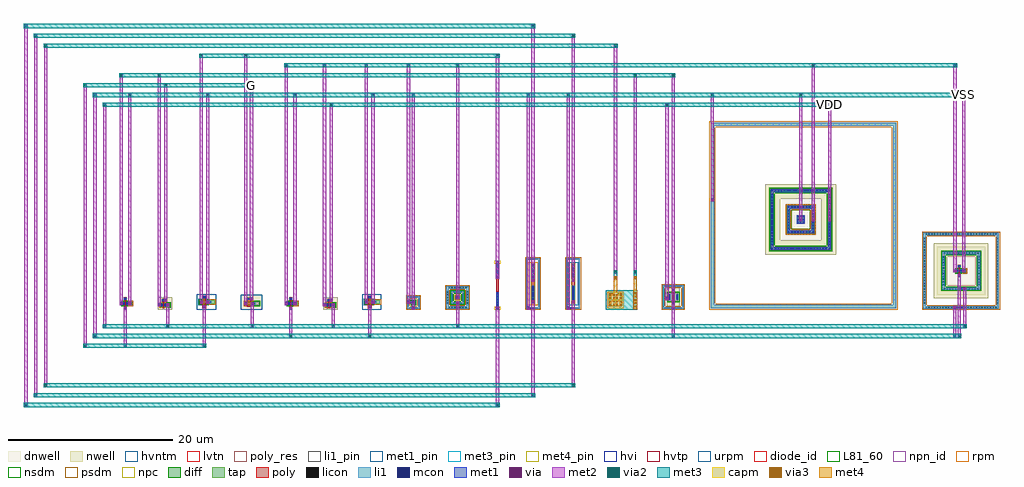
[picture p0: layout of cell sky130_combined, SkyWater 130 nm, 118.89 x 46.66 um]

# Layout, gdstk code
import gdstk
lib = gdstk.Library(unit=1e-6, precision=1e-09)
def R(c, l, rs):  # rectangles x0, y0, x1, y1
    for r in rs: c.add(gdstk.rectangle(r[:2], r[2:], *l))
def A(c, l, x, y, w, h, nx, ny, dx, dy):  # array of equal rectangles
    R(c, l, [(x+i*dx, y+j*dy, x+i*dx+w, y+j*dy+h) for i in range(nx) for j in range(ny)])
def P(c, l, *ps):  # polygons
    for p in ps: c.add(gdstk.Polygon(p, *l))
dnwell = (64, 18)
nwell = (64, 20)
diff = (65, 20)
tap = (65, 44)
poly_res = (66, 13)
poly = (66, 20)
licon = (66, 44)
li1_pin = (67, 16)
li1 = (67, 20)
mcon = (67, 44)
met1_pin = (68, 16)
met1 = (68, 20)
via = (68, 44)
met2 = (69, 20)
via2 = (69, 44)
met3_pin = (70, 16)
met3 = (70, 20)
via3 = (70, 44)
met4_pin = (71, 16)
met4 = (71, 20)
hvi = (75, 20)
hvtp = (78, 44)
urpm = (79, 20)
diode_id = (81, 23)
L81_60 = (81, 60)
npn_id = (82, 20)
rpm = (86, 20)
capm = (89, 44)
nsdm = (93, 44)
psdm = (94, 20)
npc = (95, 20)
hvntm = (125, 20)
lvtn = (125, 44)

sky130_combined = lib.new_cell('sky130_combined')
R(sky130_combined, dnwell, [(99.4,1.815,105.23,7.675), (78.86,7.08,86.68,14.9)])
R(sky130_combined, nwell, [(4.45,0,6.2,1.52), (14.55,0,16.97,1.84), (14.55,0,17.145,1.84), (24.595,0,26.345,1.52), (66.43,0.425,68.06,2.685), (40.02,0.545,41.92,2.445), (66.43,0.565,68.06,2.545), (79.325,7.09,86.215,7.86), (78.87,7.545,79.64,14.435), (85.9,7.545,86.67,14.435), (79.325,14.12,86.215,14.89)])
P(sky130_combined, nwell, [(78.46,6.68),(78.46,8.48),(85.28,8.48),(85.28,13.5),(80.26,13.5),(80.26,8.48),(78.46,8.48),(78.46,15.3),(87.08,15.3),(87.08,6.68)],
  [(99,1.415),(99,6.485),(100.59,6.485),(100.59,3.005),(104.04,3.005),(104.04,6.485),(99,6.485),(99,8.075),(105.63,8.075),(105.63,1.415)])
R(sky130_combined, diff, [(4.755,0.38,5.505,0.8), (24.9,0.38,25.65,0.8), (15.015,0.54,16.115,0.96), (0.125,0.55,0.875,0.97), (20.27,0.55,21.02,0.97), (35.36,0.665,35.81,1.115), (9.57,0.725,10.67,1.145), (29.715,0.725,30.815,1.145), (40.745,1.27,41.195,1.72), (101.715,4.535,102.465,4.955), (82.27,10.49,83.27,11.49), (82.285,10.505,83.255,11.475)])
R(sky130_combined, tap, [(49.33,0.125,50.98,0.295), (54.23,0.125,55.88,0.295), (49.33,0.295,49.5,6.075), (50.81,0.295,50.98,6.075), (54.23,0.295,54.4,6.075), (55.71,0.295,55.88,6.075), (5.505,0.38,5.895,0.8), (25.65,0.38,26.04,0.8), (16.115,0.54,16.505,0.96), (16.115,0.54,16.815,0.96), (0.875,0.55,1.325,0.97), (21.02,0.55,21.47,0.97), (10.67,0.725,11.12,1.145), (10.67,0.725,11.37,1.145), (30.815,0.725,31.265,1.145), (30.815,0.725,31.515,1.145), (66.61,1.055,67.88,2.055), (102.465,4.535,102.915,4.955), (49.33,6.075,50.98,6.245), (54.23,6.075,55.88,6.245)])
P(sky130_combined, tap, [(34.82,0.125),(34.82,1.485),(34.99,1.485),(34.99,0.295),(36.18,0.295),(36.18,1.485),(34.82,1.485),(34.82,1.655),(36.35,1.655),(36.35,0.125)],
  [(40.205,0.73),(40.205,2.09),(40.375,2.09),(40.375,0.9),(41.565,0.9),(41.565,2.09),(40.205,2.09),(40.205,2.26),(41.735,2.26),(41.735,0.73)],
  [(39.6,0.125),(39.6,2.575),(39.89,2.575),(39.89,0.415),(42.05,0.415),(42.05,2.575),(39.6,2.575),(39.6,2.865),(42.34,2.865),(42.34,0.125)],
  [(65.99,0.125),(65.99,2.815),(66.16,2.815),(66.16,0.295),(68.33,0.295),(68.33,2.815),(65.99,2.815),(65.99,2.985),(68.5,2.985),(68.5,0.125)],
  [(81.06,9.28),(81.06,12.29),(81.47,12.29),(81.47,9.69),(84.07,9.69),(84.07,12.29),(81.06,12.29),(81.06,12.7),(84.48,12.7),(84.48,9.28)],
  [(79.05,7.27),(79.05,14.3),(79.46,14.3),(79.46,7.68),(86.08,7.68),(86.08,14.3),(79.05,14.3),(79.05,14.71),(86.49,14.71),(86.49,7.27)],
  [(71.795,0.165),(71.795,22.385),(72.215,22.385),(72.215,0.585),(94.015,0.585),(94.015,22.385),(71.795,22.385),(71.795,22.805),(94.435,22.805),(94.435,0.165)],
  [(100,2.415),(100,6.785),(100.29,6.785),(100.29,2.705),(104.34,2.705),(104.34,6.785),(100,6.785),(100,7.075),(104.63,7.075),(104.63,2.415)],
  [(97.71,0.125),(97.71,9.075),(98,9.075),(98,0.415),(106.63,0.415),(106.63,9.075),(97.71,9.075),(97.71,9.365),(106.92,9.365),(106.92,0.125)])
R(sky130_combined, poly_res, [(45.67,2.17,46,3.82), (49.98,2.875,50.33,3.495), (54.88,2.875,55.23,3.495)])
R(sky130_combined, poly, [(0.365,0.02,0.635,0.35), (20.51,0.02,20.78,0.35), (45.67,0.02,46,5.97), (5.055,0.18,5.205,1), (25.2,0.18,25.35,1), (9.87,0.195,10.37,0.525), (30.015,0.195,30.515,0.525), (15.315,0.34,15.815,1.16), (0.425,0.35,0.575,1.17), (20.57,0.35,20.72,1.17), (9.87,0.525,10.37,1.345), (30.015,0.525,30.515,1.345), (67.11,0.575,67.38,0.905), (49.98,0.775,50.33,5.595), (54.88,0.775,55.23,5.595), (67.155,0.905,67.335,2.205), (4.995,1,5.265,1.33), (25.14,1,25.41,1.33), (15.315,1.16,15.815,1.49), (0.365,1.17,0.635,1.5), (20.51,1.17,20.78,1.5), (9.87,1.345,10.37,1.675), (30.015,1.345,30.515,1.675), (67.11,2.205,67.38,2.535), (101.955,4.005,102.225,4.335), (102.015,4.335,102.165,5.155), (101.955,5.155,102.225,5.485)])
A(sky130_combined, licon, 35.14, 0.125, 0.17, 0.17, 3, 2, 0.36, 1.36)
A(sky130_combined, licon, 66.48, 0.125, 0.17, 0.17, 5, 2, 0.34, 2.69)
A(sky130_combined, licon, 39.865, 0.185, 0.17, 0.17, 7, 2, 0.34, 2.45)
A(sky130_combined, licon, 97.98, 0.185, 0.17, 0.17, 26, 2, 0.34, 8.95)
A(sky130_combined, licon, 65.99, 0.45, 0.17, 0.17, 1, 7, 0, 0.34)
A(sky130_combined, licon, 68.33, 0.45, 0.17, 0.17, 1, 7, 0, 0.34)
A(sky130_combined, licon, 40.525, 0.73, 0.17, 0.17, 3, 2, 0.36, 1.36)
A(sky130_combined, licon, 97.77, 0.75, 0.17, 0.17, 1, 24, 0, 0.34)
A(sky130_combined, licon, 106.69, 0.75, 0.17, 0.17, 1, 24, 0, 0.34)
A(sky130_combined, licon, 49.33, 0.89, 0.17, 0.17, 1, 14, 0, 0.34)
A(sky130_combined, licon, 50.81, 0.89, 0.17, 0.17, 1, 14, 0, 0.34)
A(sky130_combined, licon, 54.23, 0.89, 0.17, 0.17, 1, 14, 0, 0.34)
A(sky130_combined, licon, 55.71, 0.89, 0.17, 0.17, 1, 14, 0, 0.34)
A(sky130_combined, licon, 39.66, 1.41, 0.17, 0.17, 3, 1, 1.225, 0)
A(sky130_combined, licon, 100.19, 2.475, 0.17, 0.17, 13, 2, 0.34, 4.37)
A(sky130_combined, licon, 100.06, 2.96, 0.17, 0.17, 1, 11, 0, 0.34)
A(sky130_combined, licon, 104.4, 2.96, 0.17, 0.17, 1, 11, 0, 0.34)
A(sky130_combined, licon, 79.625, 7.39, 0.17, 0.17, 19, 2, 0.34, 7.03)
A(sky130_combined, licon, 79.17, 7.845, 0.17, 0.17, 1, 19, 0, 0.34)
A(sky130_combined, licon, 86.2, 7.845, 0.17, 0.17, 1, 19, 0, 0.34)
A(sky130_combined, licon, 81.665, 9.4, 0.17, 0.17, 7, 2, 0.34, 3.01)
A(sky130_combined, licon, 81.18, 9.885, 0.17, 0.17, 1, 7, 0, 0.34)
A(sky130_combined, licon, 84.19, 9.885, 0.17, 0.17, 1, 7, 0, 0.34)
A(sky130_combined, licon, 82.345, 10.565, 0.17, 0.17, 3, 3, 0.34, 0.34)
R(sky130_combined, licon, [(0.415,0.1,0.585,0.27), (20.56,0.1,20.73,0.27), (45.75,0.1,45.92,0.27), (49.9,0.125,50.07,0.295), (50.24,0.125,50.41,0.295), (54.8,0.125,54.97,0.295), (55.14,0.125,55.31,0.295), (10.035,0.275,10.205,0.445), (30.18,0.275,30.35,0.445), (4.82,0.505,4.99,0.675), (5.27,0.505,5.44,0.675), (5.615,0.505,5.785,0.675), (24.965,0.505,25.135,0.675), (25.415,0.505,25.585,0.675), (25.76,0.505,25.93,0.675), (34.82,0.625,34.99,0.795), (36.18,0.625,36.35,0.795), (67.16,0.655,67.33,0.825), (15.08,0.665,15.25,0.835), (15.88,0.665,16.05,0.835), (16.225,0.665,16.395,0.835), (0.19,0.675,0.36,0.845), (0.64,0.675,0.81,0.845), (1.015,0.675,1.185,0.845), (20.335,0.675,20.505,0.845), (20.785,0.675,20.955,0.845), (21.16,0.675,21.33,0.845), (39.66,0.73,39.83,0.9), (42.11,0.73,42.28,0.9), (35.5,0.805,35.67,0.975), (9.635,0.85,9.805,1.02), (10.435,0.85,10.605,1.02), (10.81,0.85,10.98,1.02), (29.78,0.85,29.95,1.02), (30.58,0.85,30.75,1.02), (30.955,0.85,31.125,1.02), (50.06,0.855,50.25,2.855), (54.96,0.855,55.15,2.855), (34.82,0.985,34.99,1.155), (36.18,0.985,36.35,1.155), (39.66,1.07,39.83,1.24), (42.11,1.07,42.28,1.24), (5.045,1.08,5.215,1.25), (25.19,1.08,25.36,1.25), (40.205,1.23,40.375,1.4), (41.565,1.23,41.735,1.4), (15.48,1.24,15.65,1.41), (0.415,1.25,0.585,1.42), (20.56,1.25,20.73,1.42), (66.7,1.29,66.87,1.46), (67.62,1.29,67.79,1.46), (10.035,1.425,10.205,1.595), (30.18,1.425,30.35,1.595), (40.205,1.59,40.375,1.76), (41.565,1.59,41.735,1.76), (66.7,1.65,66.87,1.82), (67.62,1.65,67.79,1.82), (39.66,1.75,39.83,1.92), (42.11,1.75,42.28,1.92), (39.66,2.09,39.83,2.26), (42.11,2.09,42.28,2.26), (67.16,2.285,67.33,2.455), (50.06,3.515,50.25,5.515), (54.96,3.515,55.15,5.515), (102.005,4.085,102.175,4.255), (101.78,4.66,101.95,4.83), (102.23,4.66,102.4,4.83), (102.605,4.66,102.775,4.83), (102.005,5.235,102.175,5.405), (45.75,5.72,45.92,5.89), (49.9,6.075,50.07,6.245), (50.24,6.075,50.41,6.245), (54.8,6.075,54.97,6.245), (55.14,6.075,55.31,6.245), (79.17,7.39,79.34,7.56), (86.2,7.39,86.37,7.56), (81.18,9.4,81.35,9.57), (84.19,9.4,84.36,9.57), (81.18,12.41,81.35,12.58), (84.19,12.41,84.36,12.58), (71.925,13.345,72.095,13.515), (79.17,14.42,79.34,14.59), (86.2,14.42,86.37,14.59)])
R(sky130_combined, li1_pin, [(35.5,0.125,35.67,0.295), (50.07,0.125,50.24,0.295), (54.97,0.125,55.14,0.295), (67.16,0.125,67.33,0.295), (102.23,0.185,102.4,0.355), (40.885,0.73,41.055,0.9), (102.23,2.475,102.4,2.645), (71.908,13.323,72.078,13.493)])
R(sky130_combined, li1, [(0.335,0.1,0.665,0.27), (20.48,0.1,20.81,0.27), (45.67,0.1,46,0.27), (49.33,0.125,50.98,0.295), (54.23,0.125,55.88,0.295), (45.75,0.27,45.92,2.085), (9.955,0.275,10.285,0.445), (30.1,0.275,30.43,0.445), (49.33,0.295,49.5,6.075), (50.81,0.295,50.98,6.075), (54.23,0.295,54.4,6.075), (55.71,0.295,55.88,6.075), (4.82,0.425,4.99,0.755), (5.27,0.425,5.44,0.755), (5.44,0.425,5.615,0.755), (5.615,0.425,5.785,0.755), (24.965,0.425,25.135,0.755), (25.415,0.425,25.585,0.755), (25.585,0.425,25.76,0.755), (25.76,0.425,25.93,0.755), (15.08,0.585,15.25,0.915), (15.88,0.585,16.05,0.915), (16.05,0.585,16.225,0.915), (16.225,0.585,16.395,0.915), (0.19,0.595,0.36,0.925), (0.64,0.595,0.81,0.925), (0.81,0.595,1.015,0.925), (1.015,0.595,1.185,0.925), (20.335,0.595,20.505,0.925), (20.785,0.595,20.955,0.925), (20.955,0.595,21.16,0.925), (21.16,0.595,21.33,0.925), (67.08,0.655,67.41,0.825), (35.34,0.725,35.83,1.055), (9.635,0.77,9.805,1.1), (10.435,0.77,10.605,1.1), (10.605,0.77,10.81,1.1), (10.81,0.77,10.98,1.1), (29.78,0.77,29.95,1.1), (30.58,0.77,30.75,1.1), (30.75,0.77,30.955,1.1), (30.955,0.77,31.125,1.1), (49.98,0.775,50.33,2.935), (54.88,0.775,55.23,2.935), (4.965,1.08,5.295,1.25), (25.11,1.08,25.44,1.25), (66.7,1.21,66.87,1.9), (67.62,1.21,67.79,1.9), (15.4,1.24,15.73,1.41), (0.335,1.25,0.665,1.42), (20.48,1.25,20.81,1.42), (40.725,1.33,41.215,1.66), (9.955,1.425,10.285,1.595), (30.1,1.425,30.43,1.595), (67.08,2.285,67.41,2.455), (49.98,3.435,50.33,5.595), (54.88,3.435,55.23,5.595), (45.75,3.905,45.92,5.72), (101.925,4.085,102.255,4.255), (101.78,4.58,101.95,4.91), (102.23,4.58,102.4,4.91), (102.4,4.58,102.605,4.91), (102.605,4.58,102.775,4.91), (101.925,5.235,102.255,5.405), (45.67,5.72,46,5.89), (49.33,6.075,50.98,6.245), (54.23,6.075,55.88,6.245), (82.265,10.485,83.275,11.495)])
P(sky130_combined, li1, [(34.82,0.125),(34.82,1.485),(34.99,1.485),(34.99,0.295),(36.18,0.295),(36.18,1.485),(34.82,1.485),(34.82,1.655),(36.35,1.655),(36.35,0.125)],
  [(40.205,0.73),(40.205,2.09),(40.375,2.09),(40.375,0.9),(41.565,0.9),(41.565,2.09),(40.205,2.09),(40.205,2.26),(41.735,2.26),(41.735,0.73)],
  [(39.6,0.125),(39.6,2.575),(39.89,2.575),(39.89,0.415),(42.05,0.415),(42.05,2.575),(39.6,2.575),(39.6,2.865),(42.34,2.865),(42.34,0.125)],
  [(65.99,0.125),(65.99,2.815),(66.16,2.815),(66.16,0.295),(68.33,0.295),(68.33,2.815),(65.99,2.815),(65.99,2.985),(68.5,2.985),(68.5,0.125)],
  [(81.1,9.32),(81.1,12.33),(81.43,12.33),(81.43,9.65),(84.11,9.65),(84.11,12.33),(81.1,12.33),(81.1,12.66),(84.44,12.66),(84.44,9.32)],
  [(79.09,7.31),(79.09,14.34),(79.42,14.34),(79.42,7.64),(86.12,7.64),(86.12,14.34),(79.09,14.34),(79.09,14.67),(86.45,14.67),(86.45,7.31)],
  [(71.795,0.165),(71.795,22.385),(72.215,22.385),(72.215,0.585),(94.015,0.585),(94.015,22.385),(71.795,22.385),(71.795,22.805),(94.435,22.805),(94.435,0.165)],
  [(100,2.415),(100,6.785),(100.29,6.785),(100.29,2.705),(104.34,2.705),(104.34,6.785),(100,6.785),(100,7.075),(104.63,7.075),(104.63,2.415)],
  [(97.71,0.125),(97.71,9.075),(98,9.075),(98,0.415),(106.63,0.415),(106.63,9.075),(97.71,9.075),(97.71,9.365),(106.92,9.365),(106.92,0.125)])
A(sky130_combined, mcon, 45.75, 0.11, 0.17, 0.17, 1, 6, 0, 0.36)
A(sky130_combined, mcon, 50.07, 0.875, 0.17, 0.17, 1, 6, 0, 0.36)
A(sky130_combined, mcon, 54.97, 0.875, 0.17, 0.17, 1, 6, 0, 0.36)
A(sky130_combined, mcon, 50.07, 3.53, 0.17, 0.17, 1, 6, 0, 0.36)
A(sky130_combined, mcon, 54.97, 3.53, 0.17, 0.17, 1, 6, 0, 0.36)
A(sky130_combined, mcon, 45.75, 3.91, 0.17, 0.17, 1, 6, 0, 0.36)
A(sky130_combined, mcon, 79.625, 7.39, 0.17, 0.17, 18, 2, 0.36, 7.03)
A(sky130_combined, mcon, 79.17, 7.845, 0.17, 0.17, 1, 18, 0, 0.36)
A(sky130_combined, mcon, 86.2, 7.845, 0.17, 0.17, 1, 18, 0, 0.36)
A(sky130_combined, mcon, 81.605, 9.4, 0.17, 0.17, 7, 2, 0.36, 3.01)
A(sky130_combined, mcon, 81.18, 9.825, 0.17, 0.17, 1, 7, 0, 0.36)
A(sky130_combined, mcon, 84.19, 9.825, 0.17, 0.17, 1, 7, 0, 0.36)
A(sky130_combined, mcon, 82.325, 10.545, 0.17, 0.17, 3, 3, 0.36, 0.36)
R(sky130_combined, mcon, [(0.415,0.1,0.585,0.27), (20.56,0.1,20.73,0.27), (35.5,0.125,35.67,0.295), (50.07,0.125,50.24,0.295), (54.97,0.125,55.14,0.295), (67.16,0.125,67.33,0.295), (102.23,0.185,102.4,0.355), (10.035,0.275,10.205,0.445), (30.18,0.275,30.35,0.445), (4.82,0.505,4.99,0.675), (5.27,0.505,5.44,0.675), (24.965,0.505,25.135,0.675), (25.415,0.505,25.585,0.675), (67.16,0.655,67.33,0.825), (15.08,0.665,15.25,0.835), (15.88,0.665,16.05,0.835), (0.19,0.675,0.36,0.845), (0.64,0.675,0.81,0.845), (20.335,0.675,20.505,0.845), (20.785,0.675,20.955,0.845), (40.885,0.73,41.055,0.9), (35.5,0.805,35.67,0.975), (9.635,0.85,9.805,1.02), (10.435,0.85,10.605,1.02), (29.78,0.85,29.95,1.02), (30.58,0.85,30.75,1.02), (5.045,1.08,5.215,1.25), (25.19,1.08,25.36,1.25), (15.48,1.24,15.65,1.41), (0.415,1.25,0.585,1.42), (20.56,1.25,20.73,1.42), (66.7,1.29,66.87,1.46), (67.62,1.29,67.79,1.46), (40.885,1.41,41.055,1.58), (10.035,1.425,10.205,1.595), (30.18,1.425,30.35,1.595), (66.7,1.65,66.87,1.82), (67.62,1.65,67.79,1.82), (67.16,2.285,67.33,2.455), (102.23,2.475,102.4,2.645), (102.005,4.085,102.175,4.255), (101.78,4.66,101.95,4.83), (102.23,4.66,102.4,4.83), (102.005,5.235,102.175,5.405), (79.17,7.39,79.34,7.56), (86.2,7.39,86.37,7.56), (81.18,9.4,81.35,9.57), (84.19,9.4,84.36,9.57), (81.18,12.41,81.35,12.58), (84.19,12.41,84.36,12.58), (71.905,13.32,72.075,13.49), (79.17,14.42,79.34,14.59), (86.2,14.42,86.37,14.59)])
R(sky130_combined, met1_pin, [(0.415,0.1,0.585,0.27), (20.56,0.1,20.73,0.27), (45.75,0.11,45.92,0.28), (10.035,0.275,10.205,0.445), (30.18,0.275,30.35,0.445), (4.82,0.505,4.99,0.675), (5.27,0.505,5.44,0.675), (24.965,0.505,25.135,0.675), (25.415,0.505,25.585,0.675), (67.16,0.655,67.33,0.825), (15.08,0.665,15.25,0.835), (15.88,0.665,16.05,0.835), (0.19,0.675,0.36,0.845), (0.64,0.675,0.81,0.845), (20.335,0.675,20.505,0.845), (20.785,0.675,20.955,0.845), (35.5,0.805,35.67,0.975), (9.635,0.85,9.805,1.02), (10.435,0.85,10.605,1.02), (29.78,0.85,29.95,1.02), (30.58,0.85,30.75,1.02), (50.07,0.875,50.24,1.045), (54.97,0.875,55.14,1.045), (5.045,1.08,5.215,1.25), (25.19,1.08,25.36,1.25), (15.48,1.24,15.65,1.41), (66.7,1.29,66.87,1.46), (40.885,1.41,41.055,1.58), (50.07,3.53,50.24,3.7), (54.97,3.53,55.14,3.7), (45.75,3.91,45.92,4.08), (102.005,4.085,102.175,4.255), (101.78,4.66,101.95,4.83), (102.23,4.66,102.4,4.83), (82.685,10.905,82.855,11.075), (84.19,10.905,84.36,11.075), (86.2,10.905,86.37,11.075)])
R(sky130_combined, met1, [(0.31,-0.005,0.69,0.375), (20.455,-0.005,20.835,0.375), (45.645,0.005,46.025,0.385), (35.395,0.02,35.775,0.4), (67.055,0.02,67.435,0.4), (45.67,0.04,46,2.145), (0.315,0.07,0.685,0.3), (20.46,0.07,20.83,0.3), (9.93,0.17,10.31,0.55), (30.075,0.17,30.455,0.55), (9.935,0.245,10.305,0.475), (30.08,0.245,30.45,0.475), (4.76,0.445,5.05,0.735), (5.21,0.445,5.5,0.735), (24.905,0.445,25.195,0.735), (25.355,0.445,25.645,0.735), (67.055,0.55,67.435,0.93), (14.975,0.56,15.355,0.94), (15.775,0.56,16.155,0.94), (15.02,0.605,15.31,0.895), (15.82,0.605,16.11,0.895), (0.13,0.615,0.42,0.905), (0.58,0.615,0.87,0.905), (20.275,0.615,20.565,0.905), (20.725,0.615,21.015,0.905), (40.78,0.625,41.16,1.005), (67.06,0.625,67.43,0.855), (35.36,0.695,35.81,1.085), (9.53,0.745,9.91,1.125), (10.33,0.745,10.71,1.125), (29.675,0.745,30.055,1.125), (30.475,0.745,30.855,1.125), (49.965,0.77,50.345,1.15), (54.865,0.77,55.245,1.15), (9.575,0.79,9.865,1.08), (10.375,0.79,10.665,1.08), (29.72,0.79,30.01,1.08), (30.52,0.79,30.81,1.08), (50.03,0.805,50.28,2.91), (54.93,0.805,55.18,2.91), (4.945,1.05,5.315,1.28), (25.09,1.05,25.46,1.28), (15.38,1.21,15.75,1.44), (0.315,1.22,0.685,1.45), (20.46,1.22,20.83,1.45), (66.67,1.23,66.9,1.88), (67.59,1.23,67.82,1.88), (40.745,1.3,41.195,1.69), (40.78,1.305,41.16,1.685), (9.935,1.395,10.305,1.625), (30.08,1.395,30.45,1.625), (67.06,2.255,67.43,2.485), (49.965,3.425,50.345,3.805), (54.865,3.425,55.245,3.805), (50.03,3.46,50.28,5.565), (54.93,3.46,55.18,5.565), (45.645,3.805,46.025,4.185), (45.67,3.845,46,5.95), (101.9,3.98,102.28,4.36), (101.905,4.055,102.275,4.285), (101.72,4.6,102.01,4.89), (102.17,4.6,102.46,4.89), (101.905,5.205,102.275,5.435), (79.565,7.33,85.975,7.62), (79.11,7.785,79.4,14.195), (86.14,7.785,86.43,14.195), (81.545,9.34,83.995,9.63), (81.12,9.765,81.41,12.215), (84.13,9.765,84.42,12.215), (82.265,10.485,83.275,11.495), (82.58,10.8,82.96,11.18), (84.085,10.8,84.465,11.18), (86.095,10.8,86.475,11.18), (81.545,12.35,83.995,12.64), (71.8,13.215,72.18,13.595), (79.565,14.36,85.975,14.65)])
P(sky130_combined, met1, [(79.11,14.195),(79.11,14.65),(79.565,14.65),(79.565,14.36),(79.4,14.36),(79.4,14.195)],
  [(79.11,7.33),(79.11,7.785),(79.4,7.785),(79.4,7.62),(79.565,7.62),(79.565,7.33)],
  [(85.975,7.33),(85.975,7.62),(86.14,7.62),(86.14,7.785),(86.43,7.785),(86.43,7.33)],
  [(86.14,14.195),(86.14,14.36),(85.975,14.36),(85.975,14.65),(86.43,14.65),(86.43,14.195)],
  [(84.13,12.215),(84.13,12.35),(83.995,12.35),(83.995,12.64),(84.42,12.64),(84.42,12.215)],
  [(81.12,9.34),(81.12,9.765),(81.41,9.765),(81.41,9.63),(81.545,9.63),(81.545,9.34)],
  [(81.12,12.215),(81.12,12.64),(81.545,12.64),(81.545,12.35),(81.41,12.35),(81.41,12.215)],
  [(83.995,9.34),(83.995,9.63),(84.13,9.63),(84.13,9.765),(84.42,9.765),(84.42,9.34)],
  [(54.265,0.02),(54.265,0.4),(54.645,0.4),(54.645,0.325),(55.2,0.325),(55.2,0.095),(54.645,0.095),(54.645,0.02)],
  [(66.295,1.185),(66.295,1.565),(66.675,1.565),(66.675,1.49),(66.785,1.49),(66.785,1.26),(66.675,1.26),(66.675,1.185)],
  [(101.375,4.555),(101.375,4.935),(101.755,4.935),(101.755,4.86),(101.865,4.86),(101.865,4.63),(101.755,4.63),(101.755,4.555)],
  [(102.425,4.555),(102.425,4.63),(102.315,4.63),(102.315,4.86),(102.425,4.86),(102.425,4.935),(102.805,4.935),(102.805,4.555)],
  [(102.575,2.37),(102.575,2.445),(102.17,2.445),(102.17,2.675),(102.575,2.675),(102.575,2.75),(102.955,2.75),(102.955,2.37)],
  [(101.325,0.08),(101.325,0.46),(101.705,0.46),(101.705,0.385),(102.46,0.385),(102.46,0.155),(101.705,0.155),(101.705,0.08)],
  [(-0.215,0.57),(-0.215,0.95),(0.165,0.95),(0.165,0.875),(0.275,0.875),(0.275,0.645),(0.165,0.645),(0.165,0.57)],
  [(0.835,0.57),(0.835,0.645),(0.725,0.645),(0.725,0.875),(0.835,0.875),(0.835,0.95),(1.215,0.95),(1.215,0.57)],
  [(4.415,0.4),(4.415,0.78),(4.795,0.78),(4.795,0.705),(4.905,0.705),(4.905,0.475),(4.795,0.475),(4.795,0.4)],
  [(5.24,0.975),(5.24,1.05),(5.13,1.05),(5.13,1.28),(5.24,1.28),(5.24,1.355),(5.62,1.355),(5.62,0.975)],
  [(5.465,0.4),(5.465,0.475),(5.355,0.475),(5.355,0.705),(5.465,0.705),(5.465,0.78),(5.845,0.78),(5.845,0.4)],
  [(15.675,1.135),(15.675,1.21),(15.565,1.21),(15.565,1.44),(15.675,1.44),(15.675,1.515),(16.055,1.515),(16.055,1.135)],
  [(19.93,0.57),(19.93,0.95),(20.31,0.95),(20.31,0.875),(20.42,0.875),(20.42,0.645),(20.31,0.645),(20.31,0.57)],
  [(20.98,0.57),(20.98,0.645),(20.87,0.645),(20.87,0.875),(20.98,0.875),(20.98,0.95),(21.36,0.95),(21.36,0.57)],
  [(24.56,0.4),(24.56,0.78),(24.94,0.78),(24.94,0.705),(25.05,0.705),(25.05,0.475),(24.94,0.475),(24.94,0.4)],
  [(25.385,0.975),(25.385,1.05),(25.275,1.05),(25.275,1.28),(25.385,1.28),(25.385,1.355),(25.765,1.355),(25.765,0.975)],
  [(25.61,0.4),(25.61,0.475),(25.5,0.475),(25.5,0.705),(25.61,0.705),(25.61,0.78),(25.99,0.78),(25.99,0.4)],
  [(34.795,0.7),(34.795,1.08),(35.175,1.08),(35.175,1.005),(35.585,1.005),(35.585,0.775),(35.175,0.775),(35.175,0.7)],
  [(49.365,0.02),(49.365,0.4),(49.745,0.4),(49.745,0.325),(50.3,0.325),(50.3,0.095),(49.745,0.095),(49.745,0.02)])
R(sky130_combined, via, [(0.425,0.11,0.575,0.26), (20.57,0.11,20.72,0.26), (45.76,0.12,45.91,0.27), (35.51,0.135,35.66,0.285), (49.48,0.135,49.63,0.285), (54.38,0.135,54.53,0.285), (67.17,0.135,67.32,0.285), (101.44,0.195,101.59,0.345), (10.045,0.285,10.195,0.435), (30.19,0.285,30.34,0.435), (4.53,0.515,4.68,0.665), (5.58,0.515,5.73,0.665), (24.675,0.515,24.825,0.665), (25.725,0.515,25.875,0.665), (67.17,0.665,67.32,0.815), (15.09,0.675,15.24,0.825), (15.89,0.675,16.04,0.825), (-0.1,0.685,0.05,0.835), (0.95,0.685,1.1,0.835), (20.045,0.685,20.195,0.835), (21.095,0.685,21.245,0.835), (40.895,0.74,41.045,0.89), (34.91,0.815,35.06,0.965), (9.645,0.86,9.795,1.01), (10.445,0.86,10.595,1.01), (29.79,0.86,29.94,1.01), (30.59,0.86,30.74,1.01), (50.08,0.885,50.23,1.035), (54.98,0.885,55.13,1.035), (5.355,1.09,5.505,1.24), (25.5,1.09,25.65,1.24), (15.79,1.25,15.94,1.4), (66.41,1.3,66.56,1.45), (40.895,1.42,41.045,1.57), (102.69,2.485,102.84,2.635), (50.08,3.54,50.23,3.69), (54.98,3.54,55.13,3.69), (45.76,3.92,45.91,4.07), (102.015,4.095,102.165,4.245), (101.49,4.67,101.64,4.82), (102.54,4.67,102.69,4.82), (82.695,10.915,82.845,11.065), (84.2,10.915,84.35,11.065), (86.21,10.915,86.36,11.065), (71.915,13.33,72.065,13.48)])
R(sky130_combined, met2, [(-11.79,-11.79,-11.41,34.75), (45.645,-11.79,46.025,0.385), (-10.59,-10.59,-10.21,33.55), (49.965,-10.59,50.345,1.15), (-9.39,-9.39,-9.01,32.35), (54.865,-9.39,55.245,1.15), (-4.59,-4.59,-4.21,27.55), (0.31,-4.59,0.69,0.375), (9.93,-4.59,10.31,0.55), (-3.39,-3.39,-3.01,26.35), (20.455,-3.39,20.835,0.375), (30.075,-3.39,30.455,0.55), (67.055,-3.39,67.435,0.4), (101.325,-3.39,101.705,0.46), (101.9,-3.39,102.28,4.36), (-2.19,-2.19,-1.81,25.15), (5.465,-2.19,5.845,0.78), (15.775,-2.19,16.155,0.94), (25.61,-2.19,25.99,0.78), (40.78,-2.19,41.16,1.005), (102.575,-2.19,102.955,2.75), (35.395,0.02,35.775,26.35), (49.365,0.02,49.745,26.35), (54.265,0.02,54.645,26.35), (4.415,0.4,4.795,28.75), (24.56,0.4,24.94,29.95), (67.055,0.55,67.435,28.75), (14.975,0.56,15.355,31.15), (-0.215,0.57,0.165,28.75), (0.835,0.57,1.215,26.35), (19.93,0.57,20.31,29.95), (20.98,0.57,21.36,26.35), (34.795,0.7,35.175,29.95), (9.53,0.745,9.91,31.15), (10.33,0.745,10.71,26.35), (29.675,0.745,30.055,29.95), (30.475,0.745,30.855,26.35), (5.24,0.975,5.62,27.55), (25.385,0.975,25.765,25.15), (15.675,1.135,16.055,27.55), (66.295,1.185,66.675,25.15), (40.78,1.305,41.16,29.95), (49.965,3.425,50.345,34.75), (54.865,3.425,55.245,33.55), (45.645,3.805,46.025,31.15), (60.015,4.41,60.395,32.35), (62.415,4.41,62.795,28.75), (101.375,4.555,101.755,29.95), (102.425,4.555,102.805,26.35), (82.58,10.8,82.96,26.35), (84.085,10.8,84.465,29.95), (86.095,10.8,86.475,25.15), (71.8,13.215,72.18,26.35)])
R(sky130_combined, via2, [(-11.7,-11.7,-11.5,-11.5), (45.735,-11.7,45.935,-11.5), (-10.5,-10.5,-10.3,-10.3), (50.055,-10.5,50.255,-10.3), (-9.3,-9.3,-9.1,-9.1), (54.955,-9.3,55.155,-9.1), (-4.5,-4.5,-4.3,-4.3), (0.4,-4.5,0.6,-4.3), (10.02,-4.5,10.22,-4.3), (-3.3,-3.3,-3.1,-3.1), (20.545,-3.3,20.745,-3.1), (30.165,-3.3,30.365,-3.1), (67.145,-3.3,67.345,-3.1), (101.415,-3.3,101.615,-3.1), (101.99,-3.3,102.19,-3.1), (-2.1,-2.1,-1.9,-1.9), (5.555,-2.1,5.755,-1.9), (15.865,-2.1,16.065,-1.9), (25.7,-2.1,25.9,-1.9), (40.87,-2.1,41.07,-1.9), (102.665,-2.1,102.865,-1.9), (60.105,4.5,60.305,4.7), (62.505,4.5,62.705,4.7), (-2.1,24.86,-1.9,25.06), (25.475,24.86,25.675,25.06), (66.385,24.86,66.585,25.06), (86.185,24.86,86.385,25.06), (-3.3,26.06,-3.1,26.26), (0.925,26.06,1.125,26.26), (10.42,26.06,10.62,26.26), (21.07,26.06,21.27,26.26), (30.565,26.06,30.765,26.26), (35.485,26.06,35.685,26.26), (49.455,26.06,49.655,26.26), (54.355,26.06,54.555,26.26), (71.89,26.06,72.09,26.26), (82.67,26.06,82.87,26.26), (102.515,26.06,102.715,26.26), (-4.5,27.26,-4.3,27.46), (5.33,27.26,5.53,27.46), (15.765,27.26,15.965,27.46), (-0.125,28.46,0.075,28.66), (4.505,28.46,4.705,28.66), (62.505,28.46,62.705,28.66), (67.145,28.46,67.345,28.66), (20.02,29.66,20.22,29.86), (24.65,29.66,24.85,29.86), (29.765,29.66,29.965,29.86), (34.885,29.66,35.085,29.86), (40.87,29.66,41.07,29.86), (84.175,29.66,84.375,29.86), (101.465,29.66,101.665,29.86), (9.62,30.86,9.82,31.06), (15.065,30.86,15.265,31.06), (45.735,30.86,45.935,31.06), (-9.3,32.06,-9.1,32.26), (60.105,32.06,60.305,32.26), (-10.5,33.26,-10.3,33.46), (54.955,33.26,55.155,33.46), (-11.7,34.46,-11.5,34.66), (50.055,34.46,50.255,34.66)])
R(sky130_combined, met3_pin, [(86.135,24.81,86.435,25.11), (102.465,26.01,102.765,26.31), (15.715,27.21,16.015,27.51)])
R(sky130_combined, met3, [(-11.85,-11.85,46.085,-11.35), (-10.65,-10.65,50.405,-10.15), (-9.45,-9.45,55.305,-8.95), (-4.65,-4.65,10.37,-4.15), (-3.45,-3.45,102.34,-2.95), (-2.25,-2.25,103.015,-1.75), (59.005,0,62.865,2.4), (60.005,3.7,60.405,4.8), (62.405,3.7,62.805,4.8), (-2.25,24.71,86.535,25.21), (-3.45,25.91,102.865,26.41), (-4.65,27.11,16.115,27.61), (-0.275,28.31,67.495,28.81), (19.87,29.51,101.815,30.01), (9.47,30.71,46.085,31.21), (-9.45,31.91,60.455,32.41), (-10.65,33.11,55.305,33.61), (-11.85,34.31,50.405,34.81)])
A(sky130_combined, via3, 62.505, 0.3, 0.2, 0.2, 1, 5, 0, 0.4)
A(sky130_combined, via3, 59.505, 0.5, 0.2, 0.2, 4, 4, 0.4, 0.4)
R(sky130_combined, via3, [(60.105,3.8,60.305,4), (62.505,3.8,62.705,4)])
R(sky130_combined, met4_pin, [(60.12,1.115,60.29,1.285), (62.52,1.115,62.69,1.285)])
R(sky130_combined, met4, [(62.365,0.06,62.845,2.34), (59.4,0.395,61.01,2.005), (60.005,1,60.405,4.1), (62.405,1,62.805,4.1)])
R(sky130_combined, hvi, [(9.2,0,11.43,1.87), (9.2,0,11.55,1.87), (14.55,0,16.97,1.84), (14.55,0,17.145,1.84), (29.345,0,31.575,1.87), (29.345,0,31.695,1.87)])
R(sky130_combined, hvtp, [(25.02,0.2,25.53,0.98)])
R(sky130_combined, urpm, [(54.42,0.575,55.69,5.795)])
R(sky130_combined, diode_id, [(35.36,0.665,35.81,1.115), (40.745,1.27,41.195,1.72)])
R(sky130_combined, L81_60, [(29.915,0.625,30.615,1.245)])
R(sky130_combined, npn_id, [(79.05,7.27,86.49,14.71)])
R(sky130_combined, rpm, [(49.52,0.575,50.79,5.795)])
R(sky130_combined, capm, [(59.205,0.2,61.205,2.2)])
R(sky130_combined, nsdm, [(5.505,0.255,6.02,0.925), (25.65,0.255,26.165,0.925), (16.115,0.415,16.63,1.085), (16.115,0.415,16.94,1.085), (0,0.425,0.875,1.095), (20.145,0.425,21.02,1.095), (35.235,0.54,35.935,1.24), (9.445,0.6,10.67,1.27), (29.59,0.6,30.815,1.27), (66.485,0.93,68.005,2.18), (101.59,4.41,102.465,5.08), (78.92,7.14,79.375,7.595), (79.375,7.14,86.165,7.81), (86.165,7.14,86.62,7.595), (78.92,7.595,79.59,14.385), (85.95,7.595,86.62,14.385), (81.6,9.82,83.94,12.16), (82.165,10.365,83.375,11.615), (82.155,10.375,83.385,11.605), (79.375,14.17,86.165,14.84), (78.92,14.385,79.375,14.84), (86.165,14.385,86.62,14.84)])
P(sky130_combined, nsdm, [(40.08,0.605),(40.08,1.965),(40.5,1.965),(40.5,1.025),(41.44,1.025),(41.44,1.965),(40.08,1.965),(40.08,2.385),(41.86,2.385),(41.86,0.605)],
  [(99.875,2.29),(99.875,6.66),(100.415,6.66),(100.415,2.83),(104.215,2.83),(104.215,6.66),(99.875,6.66),(99.875,7.2),(104.755,7.2),(104.755,2.29)])
R(sky130_combined, psdm, [(49.205,0,51.105,6.37), (54.105,0,56.005,6.37), (4.63,0.255,5.505,0.925), (24.775,0.255,25.65,0.925), (14.89,0.415,16.115,1.085), (0.875,0.425,1.45,1.095), (21.02,0.425,21.595,1.095), (10.67,0.6,11.245,1.27), (10.67,0.6,11.495,1.27), (30.815,0.6,31.39,1.27), (30.815,0.6,31.64,1.27), (40.62,1.145,41.32,1.845), (102.465,4.41,103.04,5.08)])
P(sky130_combined, psdm, [(34.695,0),(34.695,1.36),(35.115,1.36),(35.115,0.42),(36.055,0.42),(36.055,1.36),(34.695,1.36),(34.695,1.78),(36.475,1.78),(36.475,0)],
  [(39.475,0),(39.475,2.45),(40.015,2.45),(40.015,0.54),(41.925,0.54),(41.925,2.45),(39.475,2.45),(39.475,2.99),(42.465,2.99),(42.465,0)],
  [(65.865,0),(65.865,2.69),(66.285,2.69),(66.285,0.42),(68.205,0.42),(68.205,2.69),(65.865,2.69),(65.865,3.11),(68.625,3.11),(68.625,0)],
  [(80.93,9.15),(80.93,12.16),(81.6,12.16),(81.6,9.82),(83.94,9.82),(83.94,12.16),(80.93,12.16),(80.93,12.83),(84.61,12.83),(84.61,9.15)],
  [(71.625,0),(71.625,22.22),(72.365,22.22),(72.365,0.74),(93.845,0.74),(93.845,22.22),(71.625,22.22),(71.625,22.96),(94.585,22.96),(94.585,0)],
  [(97.585,0),(97.585,8.95),(98.125,8.95),(98.125,0.54),(106.505,0.54),(106.505,8.95),(97.585,8.95),(97.585,9.49),(107.045,9.49),(107.045,0)])
R(sky130_combined, npc, [(0.315,0,0.685,0.37), (20.46,0,20.83,0.37), (45.465,0,45.835,0.37), (45.835,0,46.205,0.37), (0.355,0.01,0.645,0.36), (20.5,0.01,20.79,0.36), (9.935,0.175,10.305,0.545), (30.08,0.175,30.45,0.545), (9.86,0.185,10.38,0.535), (30.005,0.185,30.525,0.535), (67.06,0.555,67.43,0.925), (67.1,0.565,67.39,0.915), (49.885,0.68,50.425,5.69), (54.785,0.68,55.325,5.69), (4.945,0.98,5.315,1.35), (25.09,0.98,25.46,1.35), (4.985,0.99,5.275,1.34), (25.13,0.99,25.42,1.34), (15.38,1.14,15.75,1.51), (0.315,1.15,0.685,1.52), (15.305,1.15,15.825,1.5), (20.46,1.15,20.83,1.52), (0.355,1.16,0.645,1.51), (20.5,1.16,20.79,1.51), (9.935,1.325,10.305,1.695), (30.08,1.325,30.45,1.695), (9.86,1.335,10.38,1.685), (30.005,1.335,30.525,1.685), (67.06,2.185,67.43,2.555), (67.1,2.195,67.39,2.545), (101.905,3.985,102.275,4.355), (101.945,3.995,102.235,4.345), (101.905,5.135,102.275,5.505), (101.945,5.145,102.235,5.495), (45.465,5.62,45.835,5.99), (45.835,5.62,46.205,5.99)])
R(sky130_combined, hvntm, [(9.385,0.54,10.67,1.33), (29.53,0.54,30.815,1.33)])
R(sky130_combined, lvtn, [(20.39,0.37,20.9,1.15), (29.835,0.545,30.695,1.325)])
sky130_combined.add(gdstk.Label('VSS', (102.615,26.16), layer=70, texttype=5))
sky130_combined.add(gdstk.Label('G', (15.865,27.36), layer=70, texttype=5))
sky130_combined.add(gdstk.Label('VDD', (86.285,24.96), layer=70, texttype=5))

lib.write_gds('sky130_combined.gds')
